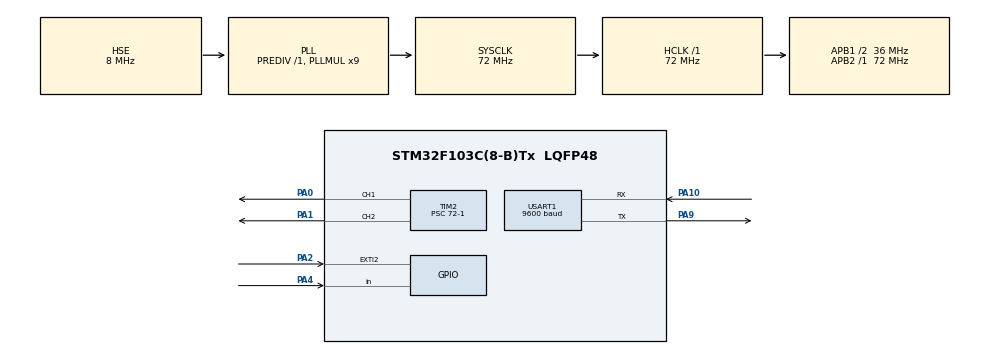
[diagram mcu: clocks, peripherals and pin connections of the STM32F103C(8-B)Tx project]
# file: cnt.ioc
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Mcu.Family=STM32F1
Mcu.Name=STM32F103C(8-B)Tx
Mcu.Package=LQFP48
NVIC.EXTI2_IRQn=true\:0\:0\:false\:false\:true\:true\:true\:true
NVIC.PriorityGroup=NVIC_PRIORITYGROUP_4
NVIC.TIM3_IRQn=true\:0\:0\:false\:false\:true\:true\:true\:true
PA0-WKUP.Signal=S_TIM2_CH1_ETR
PA1.Signal=S_TIM2_CH2
PA10.Mode=Asynchronous
PA10.Signal=USART1_RX
PA13.Mode=Serial_Wire
PA13.Signal=SYS_JTMS-SWDIO
PA14.Mode=Serial_Wire
PA14.Signal=SYS_JTCK-SWCLK
PA2.GPIO_PuPd=GPIO_PULLUP
PA2.Signal=GPXTI2
PA4.GPIO_PuPd=GPIO_PULLUP
PA4.Signal=GPIO_Input
PA9.Mode=Asynchronous
PA9.Signal=USART1_TX
PD0-OSC_IN.Mode=HSE-External-Oscillator
PD0-OSC_IN.Signal=RCC_OSC_IN
PD1-OSC_OUT.Mode=HSE-External-Oscillator
PD1-OSC_OUT.Signal=RCC_OSC_OUT
ProjectManager.HeapSize=0x200
ProjectManager.StackSize=0x400
ProjectManager.TargetToolchain=MDK-ARM V5.32
RCC.AHBFreq_Value=72000000
RCC.APB1CLKDivider=RCC_HCLK_DIV2
RCC.APB1Freq_Value=36000000
RCC.APB1TimFreq_Value=72000000
RCC.APB2Freq_Value=72000000
RCC.APB2TimFreq_Value=72000000
RCC.HCLKFreq_Value=72000000
RCC.PLLMUL=RCC_PLL_MUL9
RCC.PLLSourceVirtual=RCC_PLLSOURCE_HSE
RCC.SYSCLKFreq_VALUE=72000000
RCC.SYSCLKSource=RCC_SYSCLKSOURCE_PLLCLK
RCC.USBFreq_Value=72000000
SH.S_TIM2_CH1_ETR.0=TIM2_CH1,PWM Generation1 CH1
SH.S_TIM2_CH2.0=TIM2_CH2,PWM Generation2 CH2
TIM2.Channel-PWM\ Generation1\ CH1=TIM_CHANNEL_1
TIM2.Channel-PWM\ Generation2\ CH2=TIM_CHANNEL_2
TIM2.Period=100-1
TIM2.Prescaler=72-1
TIM3.Period=10
TIM3.Prescaler=72
USART1.BaudRate=9600
USART1.VirtualMode=VM_ASYNC
VP_TIM2_VS_ClockSourceINT.Mode=Internal
VP_TIM3_VS_ClockSourceINT.Mode=Internal
board=custom

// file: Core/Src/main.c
/* USER CODE BEGIN Header */
/**
  ******************************************************************************
  * @file           : main.c
  * @brief          : Main program body
  ******************************************************************************
  * @attention
  *
  * Copyright (c) 2023 STMicroelectronics.
  * All rights reserved.
  *
  * This software is licensed under terms that can be found in the LICENSE file
  * in the root directory of this software component.
  * If no LICENSE file comes with this software, it is provided AS-IS.
  *
  ******************************************************************************
  */
/* USER CODE END Header */
#include "main.h"

/* USER CODE BEGIN Includes */
#include <stdlib.h>
volatile int count;
uint8_t target=100;
uint16_t PWM;
short Dir,Signal;
char countt[20];

float preErr = 0;
float errI = 0;
float currentT = 0;
float preT = 0;
float deltaT = 0;
float err = 0;
float der = 0;

float kp = 1.28;
float ki = 0.00005;
float kd = 0.01;
volatile uint32_t time = 0 ;
/* USER CODE END Includes */

TIM_HandleTypeDef htim2;
TIM_HandleTypeDef htim3;

UART_HandleTypeDef huart1;

void SystemClock_Config(void);
static void MX_GPIO_Init(void);
static void MX_TIM2_Init(void);
static void MX_USART1_UART_Init(void);
static void MX_TIM3_Init(void);

/* USER CODE BEGIN 0 */
void HAL_GPIO_EXTI_Callback(uint16_t GPIO_Pin)
{
  /* Prevent unused argument(s) compilation warning */

	if (GPIO_Pin == GPIO_PIN_2){
		if (HAL_GPIO_ReadPin(GPIOA,GPIO_PIN_4) == 0){
			count ++;
		}
		if (HAL_GPIO_ReadPin(GPIOA,GPIO_PIN_4) == 1){
			count --;
		}
	}

  /* NOTE: This function Should not be modified, when the callback is needed,
           the HAL_GPIO_EXTI_Callback could be implemented in the user file
   */
}

void Drive(){
	if (Signal < 0) //negative value: CCW
  {
    Dir = -1;
  }
  else if (Signal > 0) //positive: CW
  {
    Dir = 1;
  }
  else //0: STOP - this might be a bad practice when you overshoot the setpoint
  {
    Dir = 0;
  }
	PWM = abs(Signal);
	if (PWM>50){PWM =50;}
	if ((PWM<10)&&(err!= 0)){PWM =10;}
	if (Dir == -1) //-1 == CCW
  {
    __HAL_TIM_SET_COMPARE(&htim2,TIM_CHANNEL_1,0);
		__HAL_TIM_SET_COMPARE(&htim2,TIM_CHANNEL_2,PWM);
  }
  else if (Dir == 1) // == 1, CW
  {
    __HAL_TIM_SET_COMPARE(&htim2,TIM_CHANNEL_1,PWM);
		__HAL_TIM_SET_COMPARE(&htim2,TIM_CHANNEL_2,0);
  }
  else // == 0, stop/break
  {

    PWM = 0;
    //In this block we also shut down the motor and set the PWM to zero
  }
}

  void PID(){

  currentT = time;
  deltaT = (currentT - preT) / 1000000.0;
  preT = currentT;
  err = target - count;
  der = (err - preErr) / deltaT;
  errI += (err * deltaT);
  Signal = (kp * err) + (kd * der) + (ki * errI);
  preErr = err;
}

void HAL_TIM_PeriodElapsedCallback(TIM_HandleTypeDef *htim){
	time+=10;

}
/* USER CODE END 0 */

int main(void)
{

  /* MCU Configuration--------------------------------------------------------*/

  /* Reset of all peripherals, Initializes the Flash interface and the Systick. */
  HAL_Init();

  /* Configure the system clock */
  SystemClock_Config();

  /* Initialize all configured peripherals */
  MX_GPIO_Init();
  MX_TIM2_Init();
  MX_USART1_UART_Init();
  MX_TIM3_Init();
  /* USER CODE BEGIN 2 */
HAL_TIM_PWM_Start(&htim2,TIM_CHANNEL_1);
HAL_TIM_PWM_Start(&htim2,TIM_CHANNEL_2);
HAL_TIM_Base_Start_IT(&htim3);
  /* USER CODE END 2 */

  /* Infinite loop */
  while (1)
  {
	PID();
	Drive();
  }
}

void SystemClock_Config(void)
{
  RCC_OscInitTypeDef RCC_OscInitStruct = {0};
  RCC_ClkInitTypeDef RCC_ClkInitStruct = {0};

  /** Initializes the RCC Oscillators according to the specified parameters
  * in the RCC_OscInitTypeDef structure.
  */
  RCC_OscInitStruct.OscillatorType = RCC_OSCILLATORTYPE_HSE;
  RCC_OscInitStruct.HSEState = RCC_HSE_ON;
  RCC_OscInitStruct.HSEPredivValue = RCC_HSE_PREDIV_DIV1;
  RCC_OscInitStruct.HSIState = RCC_HSI_ON;
  RCC_OscInitStruct.PLL.PLLState = RCC_PLL_ON;
  RCC_OscInitStruct.PLL.PLLSource = RCC_PLLSOURCE_HSE;
  RCC_OscInitStruct.PLL.PLLMUL = RCC_PLL_MUL9;
  if (HAL_RCC_OscConfig(&RCC_OscInitStruct) != HAL_OK)
  {
    Error_Handler();
  }

  /** Initializes the CPU, AHB and APB buses clocks
  */
  RCC_ClkInitStruct.ClockType = RCC_CLOCKTYPE_HCLK|RCC_CLOCKTYPE_SYSCLK
                              |RCC_CLOCKTYPE_PCLK1|RCC_CLOCKTYPE_PCLK2;
  RCC_ClkInitStruct.SYSCLKSource = RCC_SYSCLKSOURCE_PLLCLK;
  RCC_ClkInitStruct.AHBCLKDivider = RCC_SYSCLK_DIV1;
  RCC_ClkInitStruct.APB1CLKDivider = RCC_HCLK_DIV2;
  RCC_ClkInitStruct.APB2CLKDivider = RCC_HCLK_DIV1;

  if (HAL_RCC_ClockConfig(&RCC_ClkInitStruct, FLASH_LATENCY_2) != HAL_OK)
  {
    Error_Handler();
  }
}

static void MX_TIM2_Init(void)
{

  TIM_ClockConfigTypeDef sClockSourceConfig = {0};
  TIM_MasterConfigTypeDef sMasterConfig = {0};
  TIM_OC_InitTypeDef sConfigOC = {0};

  htim2.Instance = TIM2;
  htim2.Init.Prescaler = 72-1;
  htim2.Init.CounterMode = TIM_COUNTERMODE_UP;
  htim2.Init.Period = 100-1;
  htim2.Init.ClockDivision = TIM_CLOCKDIVISION_DIV1;
  htim2.Init.AutoReloadPreload = TIM_AUTORELOAD_PRELOAD_DISABLE;
  if (HAL_TIM_Base_Init(&htim2) != HAL_OK)
  {
    Error_Handler();
  }
  sClockSourceConfig.ClockSource = TIM_CLOCKSOURCE_INTERNAL;
  if (HAL_TIM_ConfigClockSource(&htim2, &sClockSourceConfig) != HAL_OK)
  {
    Error_Handler();
  }
  if (HAL_TIM_PWM_Init(&htim2) != HAL_OK)
  {
    Error_Handler();
  }
  sMasterConfig.MasterOutputTrigger = TIM_TRGO_RESET;
  sMasterConfig.MasterSlaveMode = TIM_MASTERSLAVEMODE_DISABLE;
  if (HAL_TIMEx_MasterConfigSynchronization(&htim2, &sMasterConfig) != HAL_OK)
  {
    Error_Handler();
  }
  sConfigOC.OCMode = TIM_OCMODE_PWM1;
  sConfigOC.Pulse = 0;
  sConfigOC.OCPolarity = TIM_OCPOLARITY_HIGH;
  sConfigOC.OCFastMode = TIM_OCFAST_DISABLE;
  if (HAL_TIM_PWM_ConfigChannel(&htim2, &sConfigOC, TIM_CHANNEL_1) != HAL_OK)
  {
    Error_Handler();
  }
  if (HAL_TIM_PWM_ConfigChannel(&htim2, &sConfigOC, TIM_CHANNEL_2) != HAL_OK)
  {
    Error_Handler();
  }
  HAL_TIM_MspPostInit(&htim2);

}

static void MX_TIM3_Init(void)
{

  TIM_ClockConfigTypeDef sClockSourceConfig = {0};
  TIM_MasterConfigTypeDef sMasterConfig = {0};

  htim3.Instance = TIM3;
  htim3.Init.Prescaler = 72;
  htim3.Init.CounterMode = TIM_COUNTERMODE_UP;
  htim3.Init.Period = 10;
  htim3.Init.ClockDivision = TIM_CLOCKDIVISION_DIV1;
  htim3.Init.AutoReloadPreload = TIM_AUTORELOAD_PRELOAD_DISABLE;
  if (HAL_TIM_Base_Init(&htim3) != HAL_OK)
  {
    Error_Handler();
  }
  sClockSourceConfig.ClockSource = TIM_CLOCKSOURCE_INTERNAL;
  if (HAL_TIM_ConfigClockSource(&htim3, &sClockSourceConfig) != HAL_OK)
  {
    Error_Handler();
  }
  sMasterConfig.MasterOutputTrigger = TIM_TRGO_RESET;
  sMasterConfig.MasterSlaveMode = TIM_MASTERSLAVEMODE_DISABLE;
  if (HAL_TIMEx_MasterConfigSynchronization(&htim3, &sMasterConfig) != HAL_OK)
  {
    Error_Handler();
  }

}

static void MX_USART1_UART_Init(void)
{

  huart1.Instance = USART1;
  huart1.Init.BaudRate = 9600;
  huart1.Init.WordLength = UART_WORDLENGTH_8B;
  huart1.Init.StopBits = UART_STOPBITS_1;
  huart1.Init.Parity = UART_PARITY_NONE;
  huart1.Init.Mode = UART_MODE_TX_RX;
  huart1.Init.HwFlowCtl = UART_HWCONTROL_NONE;
  huart1.Init.OverSampling = UART_OVERSAMPLING_16;
  if (HAL_UART_Init(&huart1) != HAL_OK)
  {
    Error_Handler();
  }

}

static void MX_GPIO_Init(void)
{
  GPIO_InitTypeDef GPIO_InitStruct = {0};

  /* GPIO Ports Clock Enable */
  __HAL_RCC_GPIOD_CLK_ENABLE();
  __HAL_RCC_GPIOA_CLK_ENABLE();

  /*Configure GPIO pin : PA2 */
  GPIO_InitStruct.Pin = GPIO_PIN_2;
  GPIO_InitStruct.Mode = GPIO_MODE_IT_RISING;
  GPIO_InitStruct.Pull = GPIO_PULLUP;
  HAL_GPIO_Init(GPIOA, &GPIO_InitStruct);

  /*Configure GPIO pin : PA4 */
  GPIO_InitStruct.Pin = GPIO_PIN_4;
  GPIO_InitStruct.Mode = GPIO_MODE_INPUT;
  GPIO_InitStruct.Pull = GPIO_PULLUP;
  HAL_GPIO_Init(GPIOA, &GPIO_InitStruct);

  /* EXTI interrupt init*/
  HAL_NVIC_SetPriority(EXTI2_IRQn, 0, 0);
  HAL_NVIC_EnableIRQ(EXTI2_IRQn);

}

void Error_Handler(void)
{
  __disable_irq();
  while (1)
  {
  }
}
